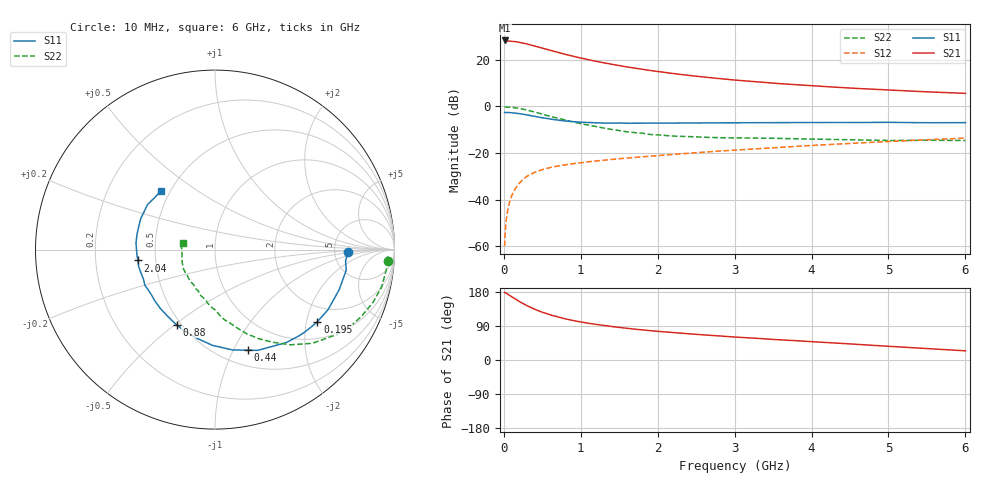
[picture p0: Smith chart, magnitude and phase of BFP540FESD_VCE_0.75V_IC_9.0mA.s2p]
! Infineon Technologies  Discrete & RF Semiconductors
! BFP540FESD
! VCE = 0.75 V,  IC =  9.0 mA
! Common Emitter S-Parameters:  Nov 2015
# GHz  S  MA  R  50
!  f  S11  S21  S12  S22
! GHz  MAG  ANG  MAG  ANG  MAG  ANG  MAG  ANG
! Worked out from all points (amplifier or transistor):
!   210 points, 10 MHz to 6 GHz, reference 50 ohm
!   highest |S21| = 28.2 dB at 10 MHz (marker M1)
!   |S21| within 3 dB of that: start of sweep to 469.1 MHz
!   unconditionally stable (mu >= 1): 2.218 GHz to end of sweep
!   at 185 MHz: K = 0.15, MSG = 30.6 dB, |S12| = -33.7 dB
!   at 1.52 GHz: K = 0.82, MSG = 19.9 dB, |S12| = -22.4 dB
!   at 6 GHz: K = 1.21, MAG = 6.8 dB, |S12| = -13.7 dB
!   S11 on the Smith chart (normalised r, x): 10 MHz: 6.65, -0.42; 195 MHz: 1.49, -2.32; 440 MHz: 0.67, -1.14; 880 MHz: 0.47, -0.51; 2.04 GHz: 0.40, -0.06; 6 GHz: 0.44, +0.36
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0.01  0.7395 -1.1  25.74 178.4  0.001 98.2  0.9667 -3.9
0.02  0.7304 -5.1  24.97 177.6  0.0022 95.0  0.9622 -2.4
0.05  0.74 -8.9  25.13 173.8  0.0058 84.2  0.9625 -6.2
0.15  0.7131 -28.0  24.39 160.8  0.0172 77.6  0.9281 -18.5
0.195  0.6976 -35.1  23.57 155.2  0.0217 74.3  0.9002 -23.7
0.3  0.6527 -52.5  21.67 143.4  0.0315 66.5  0.8289 -34.7
0.4  0.6101 -66.9  19.59 134.0  0.0382 60.8  0.7539 -43.8
0.44  0.5893 -71.9  18.78 131.0  0.0404 59.3  0.7215 -46.7
0.5  0.5675 -80.1  17.66 125.9  0.0438 57.3  0.6769 -51.6
0.6  0.5337 -91.5  15.81 119.2  0.0486 54.3  0.6097 -57.9
0.7  0.5057 -100.8  14.32 113.6  0.0523 52.4  0.5553 -63.6
0.88  0.4698 -117.1  12.01 105.1  0.0582 49.2  0.4685 -72.6
1.02  0.4531 -127.0  10.63 99.7  0.0622 48.2  0.417 -78.6
1.2  0.4419 -138.7  9.169 93.9  0.0672 46.8  0.3649 -86.1
1.42  0.4347 -149.5  7.851 87.9  0.0732 46.3  0.3159 -94.9
2.02  0.4346 -171.6  5.499 75.3  0.0879 45.2  0.2424 -116.0
2.04  0.4347 -172.0  5.447 75.0  0.0884 45.2  0.2409 -116.5
2.6  0.4418 175.5  4.223 66.2  0.1032 44.6  0.2168 -133.5
3.1  0.4427 167.3  3.538 59.5  0.1172 43.4  0.2091 -142.3
4.1  0.4481 155.9  2.687 47.2  0.1472 39.8  0.1963 -158.8
5.1  0.4497 144.9  2.192 35.0  0.1787 33.5  0.1845 -175.2
6  0.4452 132.8  1.889 24.2  0.2073 27.2  0.1845 167.8
